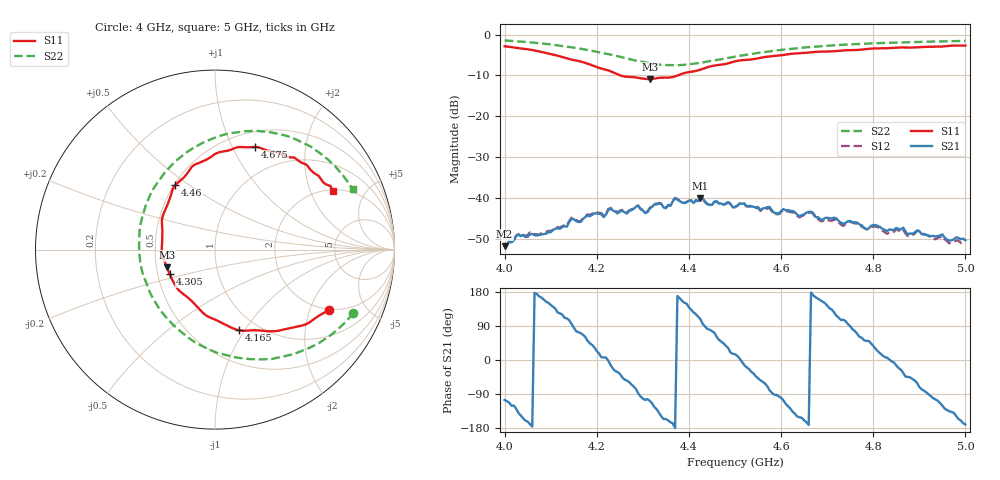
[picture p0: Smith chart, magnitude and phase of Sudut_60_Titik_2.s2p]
# Hz S RI R 50
! CMT, C1220, 16058040, 17.2.0/1
! Date: 15/08/2018 11:40:21
! Data: Format (Calibration Info)
! Freq  S11: Re/Im (F2)  S21: Re/Im (F2)  S12: Re/Im (F2)  S22: Re/Im (F2)
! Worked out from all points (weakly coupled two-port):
!   201 points, 4 GHz to 5 GHz, reference 50 ohm
!   highest |S21| = -40.12 dB at 4.425 GHz (marker M1); lowest = -51.8 dB at 4 GHz (marker M2)
!   lowest |S11| = -10.9 dB at 4.315 GHz (marker M3), VSWR 1.80, Z = 28.4 - j6.05 ohm
!   |S11| at or under -10 dB: 4.251 GHz to 4.376 GHz (124.5 MHz wide, 2.89 % of centre)
!   |S22| runs from -7.5 to -1.4 dB; largest |S21 - S12| = 0.0004
!   S11 on the Smith chart (normalised r, x): 4 GHz: 1.98, -2.75; 4.165 GHz: 0.82, -0.94; 4.305 GHz: 0.58, -0.17; 4.46 GHz: 0.51, +0.44; 4.675 GHz: 0.67, +1.23; 5 GHz: 2.04, +2.90
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4e9  0.6373 -0.3344  -0.000688 -0.00246  -0.000672 -0.00256  0.7705 -0.3539
4.03e9  0.5707 -0.3735  -0.00269 -0.0023  -0.00261 -0.00246  0.7116 -0.4185
4.09e9  0.3959 -0.4422  -0.00327 0.0016  -0.00343 0.00163  0.5535 -0.5342
4.135e9  0.2425 -0.45  -0.0015 0.00418  -0.00167 0.00425  0.3983 -0.5917
4.145e9  0.2056 -0.4495  -0.000543 0.00547  -0.000716 0.00566  0.359 -0.5997
4.165e9  0.1321 -0.4493  0.00163 0.00478  0.00158 0.00494  0.2798 -0.6109
4.17e9  0.1161 -0.4445  0.00217 0.00507  0.00205 0.00522  0.2592 -0.6114
4.23e9  -0.0719 -0.3478  0.00718 -0.00172  0.00736 -0.00163  -0.00404 -0.5687
4.265e9  -0.1696 -0.2533  0.00376 -0.00519  0.00379 -0.00535  -0.1514 -0.4886
4.29e9  -0.2286 -0.1864  0.000244 -0.00801  0.000184 -0.00807  -0.2461 -0.4048
4.305e9  -0.2524 -0.1369  -0.00173 -0.00626  -0.00175 -0.00646  -0.2945 -0.3506
4.315e9  -0.2678 -0.0978  -0.00225 -0.00703  -0.00234 -0.00716  -0.324 -0.3074
4.335e9  -0.2937 -0.0315  -0.00646 -0.00561  -0.00662 -0.00561  -0.3719 -0.216
4.35e9  -0.2962 0.0177  -0.00679 -0.00307  -0.00685 -0.00312  -0.3997 -0.1437
4.37e9  -0.2931 0.0947  -0.00983 -5.52e-05  -0.00999 6.36e-05  -0.4193 -0.0442
4.425e9  -0.2576 0.2683  -0.00298 0.0094  -0.00275 0.00935  -0.3934 0.2214
4.46e9  -0.2206 0.3591  0.0043 0.00797  0.00447 0.00793  -0.326 0.3647
4.5e9  -0.1375 0.4493  0.00752 0.00204  0.00741 0.00196  -0.2224 0.4891
4.67e9  0.2152 0.5715  -0.00639 0.00109  -0.00619 0.00122  0.2615 0.6582
4.675e9  0.2233 0.5722  -0.00563 0.00147  -0.0053 0.00154  0.2737 0.6579
4.835e9  0.4832 0.484  0.00409 8.9e-05  0.00379 0.000107  0.5888 0.5343
5e9  0.655 0.3287  -0.00298 -0.000514  -0.00279 -0.000594  0.7673 0.3349
